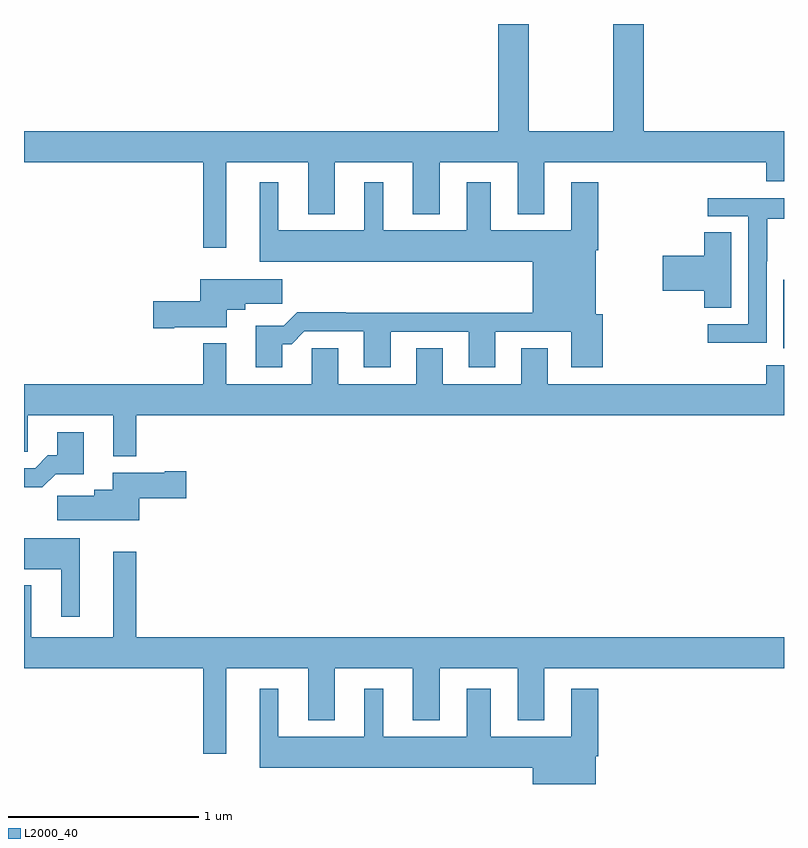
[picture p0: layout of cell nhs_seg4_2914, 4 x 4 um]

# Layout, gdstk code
import gdstk
lib = gdstk.Library(unit=1e-6, precision=1e-09)
def R(c, l, rs):  # rectangles x0, y0, x1, y1
    for r in rs: c.add(gdstk.rectangle(r[:2], r[2:], *l))
def P(c, l, *ps):  # polygons
    for p in ps: c.add(gdstk.Polygon(p, *l))
L2000_40 = (2000, 40)

nhs_seg4_2914 = lib.new_cell('nhs_seg4_2914')
R(nhs_seg4_2914, L2000_40, [(268.997,777.194,269,777.555)])
P(nhs_seg4_2914, L2000_40, [(265,778.172),(265.944,778.172),(265.944,777.723),(266.065,777.723),(266.065,778.172),(266.495,778.172),(266.495,777.899),(266.635,777.899),(266.635,778.172),(267.047,778.172),(267.047,777.899),(267.187,777.899),(267.187,778.172),(267.599,778.172),(267.599,777.899),(267.739,777.899),(267.739,778.172),(268.907,778.172),(268.907,778.073),(269,778.073),(269,778.336),(268.262,778.336),(268.262,778.9),(268.102,778.9),(268.102,778.336),(267.657,778.336),(267.657,778.9),(267.497,778.9),(267.497,778.336),(265,778.336)],
  [(266.359,777.215),(266.408,777.215),(266.475,777.282),(266.789,777.282),(266.789,777.093),(266.929,777.093),(266.929,777.279),(267.341,777.279),(267.341,777.093),(267.481,777.093),(267.481,777.279),(267.881,777.279),(267.881,777.093),(268.046,777.093),(268.046,777.372),(268.009,777.372),(268.009,777.71),(268.022,777.71),(268.022,778.066),(267.881,778.066),(267.881,777.814),(267.457,777.814),(267.457,778.066),(267.329,778.066),(267.329,777.814),(266.89,777.814),(266.89,778.066),(266.792,778.066),(266.792,777.814),(266.338,777.814),(266.338,778.066),(266.24,778.066),(266.24,777.65),(267.677,777.65),(267.677,777.38),(266.693,777.38),(266.693,777.383),(266.438,777.383),(266.368,777.313),(266.219,777.313),(266.219,777.093),(266.359,777.093)],
  [(268.908,777.652),(268.911,777.652),(268.911,777.876),(269,777.876),(269,777.984),(268.599,777.984),(268.599,777.888),(268.812,777.888),(268.812,777.321),(268.599,777.321),(268.599,777.223),(268.908,777.223)],
  [(268.723,777.803),(268.58,777.803),(268.58,777.68),(268.362,777.68),(268.362,777.497),(268.58,777.497),(268.58,777.406),(268.723,777.406)],
  [(265.792,777.305),(266.068,777.305),(266.068,777.395),(266.164,777.395),(266.164,777.427),(266.359,777.427),(266.359,777.556),(265.928,777.556),(265.928,777.44),(265.68,777.44),(265.68,777.298),(265.792,777.298)],
  [(265.591,776.84),(269,776.84),(269,777.103),(268.907,777.103),(268.907,777.004),(267.757,777.004),(267.757,777.194),(267.617,777.194),(267.617,777.004),(267.205,777.004),(267.205,777.194),(267.065,777.194),(267.065,777.004),(266.653,777.004),(266.653,777.194),(266.514,777.194),(266.514,777.004),(266.065,777.004),(266.065,777.22),(265.944,777.22),(265.944,777.004),(265,777.004),(265,776.65),(265.02,776.65),(265.02,776.84),(265.469,776.84),(265.469,776.624),(265.591,776.624)],
  [(265.166,776.531),(265.315,776.531),(265.315,776.752),(265.175,776.752),(265.175,776.629),(265.126,776.629),(265.059,776.562),(265,776.562),(265,776.462),(265.097,776.462)],
  [(265.606,776.405),(265.855,776.405),(265.855,776.547),(265.742,776.547),(265.742,776.539),(265.466,776.539),(265.466,776.449),(265.37,776.449),(265.37,776.417),(265.176,776.417),(265.176,776.288),(265.606,776.288)],
  [(265.294,776.194),(265,776.194),(265,776.03),(265.196,776.03),(265.196,775.779),(265.294,775.779)],
  [(266.065,775.508),(266.495,775.508),(266.495,775.235),(266.635,775.235),(266.635,775.508),(267.047,775.508),(267.047,775.235),(267.187,775.235),(267.187,775.508),(267.599,775.508),(267.599,775.235),(267.739,775.235),(267.739,775.508),(269,775.508),(269,775.672),(265.591,775.672),(265.591,776.122),(265.469,776.122),(265.469,775.672),(265.039,775.672),(265.039,775.945),(265,775.945),(265,775.508),(265.944,775.508),(265.944,775.059),(266.065,775.059)],
  [(268.009,775.046),(268.022,775.046),(268.022,775.402),(267.881,775.402),(267.881,775.15),(267.457,775.15),(267.457,775.402),(267.329,775.402),(267.329,775.15),(266.89,775.15),(266.89,775.402),(266.792,775.402),(266.792,775.15),(266.338,775.15),(266.338,775.402),(266.24,775.402),(266.24,774.986),(267.677,774.986),(267.677,774.9),(268.009,774.9)])

lib.write_gds('nhs_seg4_2914.gds')
